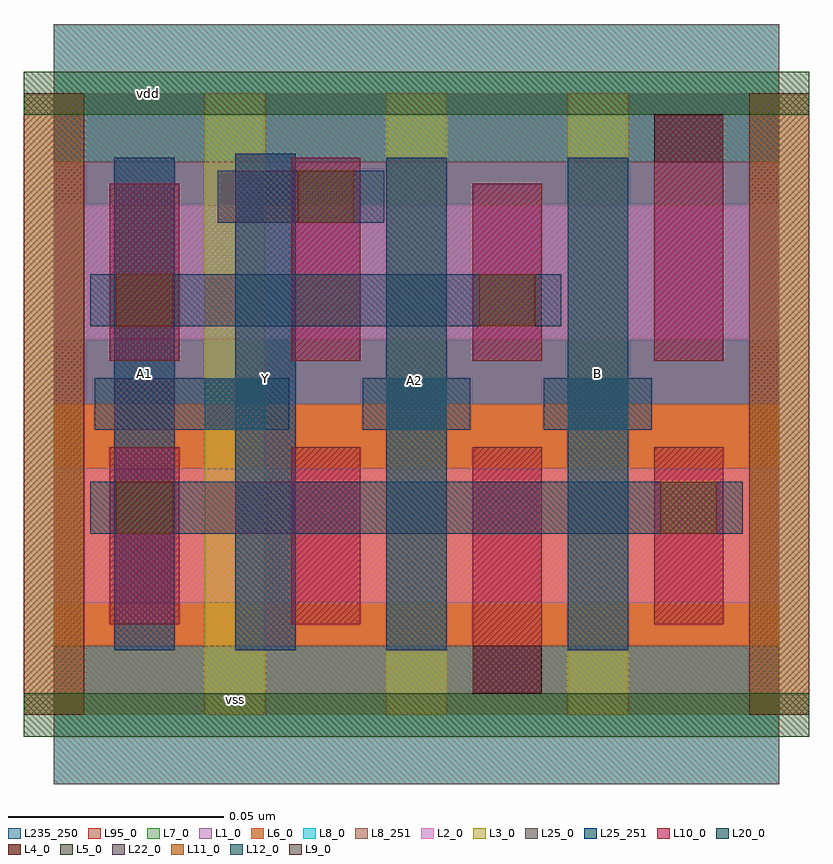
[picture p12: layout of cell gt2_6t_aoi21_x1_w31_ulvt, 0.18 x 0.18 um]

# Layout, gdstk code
import gdstk
lib = gdstk.Library(unit=1e-6, precision=1e-10)
def R(c, l, rs):  # rectangles x0, y0, x1, y1
    for r in rs: c.add(gdstk.rectangle(r[:2], r[2:], *l))
def A(c, l, x, y, w, h, nx, ny, dx, dy):  # array of equal rectangles
    R(c, l, [(x+i*dx, y+j*dy, x+i*dx+w, y+j*dy+h) for i in range(nx) for j in range(ny)])
L1_0 = (1, 0)
L2_0 = (2, 0)
L3_0 = (3, 0)
L4_0 = (4, 0)
L5_0 = (5, 0)
L6_0 = (6, 0)
L7_0 = (7, 0)
L8_0 = (8, 0)
L8_251 = (8, 251)
L9_0 = (9, 0)
L10_0 = (10, 0)
L11_0 = (11, 0)
L12_0 = (12, 0)
L20_0 = (20, 0)
L22_0 = (22, 0)
L25_0 = (25, 0)
L25_251 = (25, 251)
L95_0 = (95, 0)
L235_250 = (235, 250)

gt2_6t_aoi21_x1_w31_ulvt = lib.new_cell('gt2_6t_aoi21_x1_w31_ulvt')
R(gt2_6t_aoi21_x1_w31_ulvt, L1_0, [(0,0.072,0.168,0.144)])
R(gt2_6t_aoi21_x1_w31_ulvt, L2_0, [(0,0.026,0.168,0.057), (0,0.087,0.168,0.118)])
A(gt2_6t_aoi21_x1_w31_ulvt, L3_0, -0.007, 0, 0.014, 0.144, 5, 1, 0.042, 0)
R(gt2_6t_aoi21_x1_w31_ulvt, L4_0, [(-0.007,0,0.007,0.144), (0.161,0,0.175,0.144)])
R(gt2_6t_aoi21_x1_w31_ulvt, L5_0, [(-0.007,-0.005,0.175,0.005), (-0.007,0.139,0.175,0.149)])
R(gt2_6t_aoi21_x1_w31_ulvt, L6_0, [(0,0,0.168,0.072)])
R(gt2_6t_aoi21_x1_w31_ulvt, L7_0, [(0,0.072,0.168,0.144)])
R(gt2_6t_aoi21_x1_w31_ulvt, L8_0, [(0,-0.016,0.168,0.016), (0,0.128,0.168,0.16)])
R(gt2_6t_aoi21_x1_w31_ulvt, L8_251, [(0,-0.016,0.168,0.016), (0,0.128,0.168,0.16)])
R(gt2_6t_aoi21_x1_w31_ulvt, L9_0, [(0.097,0.005,0.113,0.016), (0.139,0.128,0.155,0.139)])
R(gt2_6t_aoi21_x1_w31_ulvt, L10_0, [(0.097,0.005,0.113,0.062), (0.013,0.021,0.029,0.062), (0.055,0.021,0.071,0.062), (0.139,0.021,0.155,0.062), (0.013,0.082,0.029,0.123), (0.055,0.082,0.071,0.129), (0.097,0.082,0.113,0.123), (0.139,0.082,0.155,0.139)])
R(gt2_6t_aoi21_x1_w31_ulvt, L11_0, [(0.0145,0.042,0.0275,0.054), (0.1405,0.042,0.1535,0.054), (0.0145,0.09,0.0275,0.102), (0.0985,0.09,0.1115,0.102), (0.0565,0.114,0.0695,0.126)])
A(gt2_6t_aoi21_x1_w31_ulvt, L12_0, 0.035, 0.066, 0.014, 0.012, 3, 1, 0.042, 0)
R(gt2_6t_aoi21_x1_w31_ulvt, L20_0, [(0.0085,0.042,0.1595,0.054), (0.0095,0.066,0.0545,0.078), (0.0715,0.066,0.0965,0.078), (0.1135,0.066,0.1385,0.078), (0.0085,0.09,0.1175,0.102), (0.038,0.114,0.0765,0.126)])
R(gt2_6t_aoi21_x1_w31_ulvt, L22_0, [(0.042,0.042,0.056,0.054), (0.014,0.066,0.028,0.078), (0.077,0.066,0.091,0.078), (0.119,0.066,0.133,0.078), (0.042,0.114,0.056,0.126)])
R(gt2_6t_aoi21_x1_w31_ulvt, L25_0, [(0.014,0.015,0.028,0.129), (0.042,0.015,0.056,0.13), (0.077,0.015,0.091,0.129), (0.119,0.015,0.133,0.129)])
R(gt2_6t_aoi21_x1_w31_ulvt, L25_251, [(0.014,0.015,0.028,0.129), (0.042,0.015,0.056,0.13), (0.077,0.015,0.091,0.129), (0.119,0.015,0.133,0.129)])
R(gt2_6t_aoi21_x1_w31_ulvt, L95_0, [(0,0,0.168,0.144)])
R(gt2_6t_aoi21_x1_w31_ulvt, L235_250, [(0,0,0.168,0.144)])
gt2_6t_aoi21_x1_w31_ulvt.add(gdstk.Label('vdd', (0.022,0.144), layer=8, texttype=251))
gt2_6t_aoi21_x1_w31_ulvt.add(gdstk.Label('vss', (0.042,0.0035), layer=8, texttype=251))
gt2_6t_aoi21_x1_w31_ulvt.add(gdstk.Label('Y', (0.049,0.078), layer=25, texttype=251))
gt2_6t_aoi21_x1_w31_ulvt.add(gdstk.Label('B', (0.126,0.079), layer=25, texttype=251))
gt2_6t_aoi21_x1_w31_ulvt.add(gdstk.Label('A2', (0.0835,0.0775), layer=25, texttype=251))
gt2_6t_aoi21_x1_w31_ulvt.add(gdstk.Label('A1', (0.021,0.079), layer=25, texttype=251))

lib.write_gds('gt2_6t_aoi21_x1_w31_ulvt.gds')
